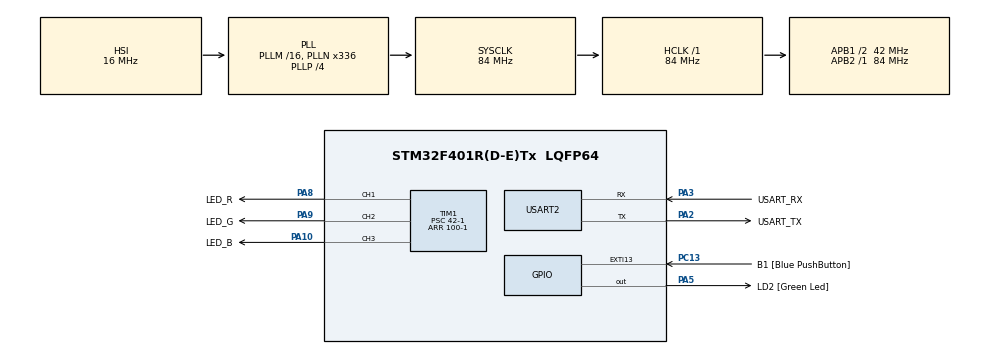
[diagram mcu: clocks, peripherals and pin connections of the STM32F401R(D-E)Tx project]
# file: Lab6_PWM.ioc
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Mcu.Family=STM32F4
Mcu.Name=STM32F401R(D-E)Tx
Mcu.Package=LQFP64
NVIC.PriorityGroup=NVIC_PRIORITYGROUP_0
NVIC.TIM1_UP_TIM10_IRQn=true\:0\:0\:false\:false\:true\:true\:true\:true
PA10.GPIO_Label=LED_B
PA10.Signal=S_TIM1_CH3
PA13.GPIO_Label=TMS
PA13.Mode=Serial_Wire
PA13.Signal=SYS_JTMS-SWDIO
PA14.GPIO_Label=TCK
PA14.Mode=Serial_Wire
PA14.Signal=SYS_JTCK-SWCLK
PA2.GPIO_Label=USART_TX
PA2.GPIO_Mode=GPIO_MODE_AF_PP
PA2.GPIO_PuPd=GPIO_NOPULL
PA2.GPIO_Speed=GPIO_SPEED_FREQ_LOW
PA2.Mode=Asynchronous
PA2.Signal=USART2_TX
PA3.GPIO_Label=USART_RX
PA3.GPIO_Mode=GPIO_MODE_AF_PP
PA3.GPIO_PuPd=GPIO_NOPULL
PA3.GPIO_Speed=GPIO_SPEED_FREQ_LOW
PA3.Mode=Asynchronous
PA3.Signal=USART2_RX
PA5.GPIO_Label=LD2 [Green Led]
PA5.GPIO_Mode=GPIO_MODE_OUTPUT_PP
PA5.GPIO_PuPd=GPIO_NOPULL
PA5.GPIO_Speed=GPIO_SPEED_FREQ_LOW
PA5.Signal=GPIO_Output
PA8.GPIO_Label=LED_R
PA8.Signal=S_TIM1_CH1
PA9.GPIO_Label=LED_G
PA9.Signal=S_TIM1_CH2
PB3.GPIO_Label=SWO
PB3.Signal=SYS_JTDO-SWO
PC13-ANTI_TAMP.GPIO_Label=B1 [Blue PushButton]
PC13-ANTI_TAMP.GPIO_ModeDefaultEXTI=GPIO_MODE_IT_FALLING
PC13-ANTI_TAMP.GPIO_PuPd=GPIO_NOPULL
PC13-ANTI_TAMP.Signal=GPXTI13
PC14-OSC32_IN.Mode=LSE-External-Oscillator
PC14-OSC32_IN.Signal=RCC_OSC32_IN
PC15-OSC32_OUT.Mode=LSE-External-Oscillator
PC15-OSC32_OUT.Signal=RCC_OSC32_OUT
PH0\ -\ OSC_IN.Mode=HSE-External-Clock-Source
PH0\ -\ OSC_IN.Signal=RCC_OSC_IN
PH1\ -\ OSC_OUT.Mode=HSE-External-Clock-Source
PH1\ -\ OSC_OUT.Signal=RCC_OSC_OUT
ProjectManager.HeapSize=0x200
ProjectManager.StackSize=0x400
ProjectManager.TargetToolchain=STM32CubeIDE
RCC.48MHZClocksFreq_Value=48000000
RCC.AHBFreq_Value=84000000
RCC.APB1CLKDivider=RCC_HCLK_DIV2
RCC.APB1Freq_Value=42000000
RCC.APB1TimFreq_Value=84000000
RCC.APB2Freq_Value=84000000
RCC.APB2TimFreq_Value=84000000
RCC.CortexFreq_Value=84000000
RCC.HCLKFreq_Value=84000000
RCC.HSE_VALUE=8000000
RCC.HSI_VALUE=16000000
RCC.PLLN=336
RCC.PLLP=RCC_PLLP_DIV4
RCC.PLLQ=7
RCC.SYSCLKFreq_VALUE=84000000
RCC.SYSCLKSource=RCC_SYSCLKSOURCE_PLLCLK
RCC.VCOOutputFreq_Value=336000000
SH.S_TIM1_CH1.0=TIM1_CH1,PWM Generation1 CH1
SH.S_TIM1_CH2.0=TIM1_CH2,PWM Generation2 CH2
SH.S_TIM1_CH3.0=TIM1_CH3,PWM Generation3 CH3
TIM1.Channel-PWM\ Generation1\ CH1=TIM_CHANNEL_1
TIM1.Channel-PWM\ Generation2\ CH2=TIM_CHANNEL_2
TIM1.Channel-PWM\ Generation3\ CH3=TIM_CHANNEL_3
TIM1.Period=100-1
TIM1.Prescaler=42-1
USART2.VirtualMode=VM_ASYNC
VP_TIM1_VS_ClockSourceINT.Mode=Internal
board=NUCLEO-F401RE

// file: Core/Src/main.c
/* USER CODE BEGIN Header */
/**
  ******************************************************************************
  * @file           : main.c
  * @brief          : Main program body
  ******************************************************************************
  * @attention
  *
  * Copyright (c) 2024 STMicroelectronics.
  * All rights reserved.
  *
  * This software is licensed under terms that can be found in the LICENSE file
  * in the root directory of this software component.
  * If no LICENSE file comes with this software, it is provided AS-IS.
  *
  ******************************************************************************
  */
/* USER CODE END Header */
#include "main.h"

/* USER CODE BEGIN Includes */
#include <math.h>
/* USER CODE END Includes */

TIM_HandleTypeDef htim1;

UART_HandleTypeDef huart2;

/* USER CODE BEGIN PV */
int isr_count = 0;
int exti_handled = 0;
float freq = 1.0;
float rf = 0.0;
float gf = 0.0;
float bf = 0.0;
/* USER CODE END PV */

void SystemClock_Config(void);
static void MX_GPIO_Init(void);
static void MX_USART2_UART_Init(void);
static void MX_TIM1_Init(void);

/* USER CODE BEGIN 0 */

void HAL_TIM_PeriodElapsedCallback (TIM_HandleTypeDef * htim) {
	isr_count++;
	exti_handled = 1;

}
/* USER CODE END 0 */

int main(void)
{

  /* MCU Configuration--------------------------------------------------------*/

  /* Reset of all peripherals, Initializes the Flash interface and the Systick. */
  HAL_Init();

  /* Configure the system clock */
  SystemClock_Config();

  /* Initialize all configured peripherals */
  MX_GPIO_Init();
  MX_USART2_UART_Init();
  MX_TIM1_Init();
  /* USER CODE BEGIN 2 */
  HAL_TIM_Base_Start_IT(&htim1);
  HAL_TIM_PWM_Start(&htim1, TIM_CHANNEL_1);
  HAL_TIM_PWM_Start(&htim1, TIM_CHANNEL_2);
  HAL_TIM_PWM_Start(&htim1, TIM_CHANNEL_3);
  /* USER CODE END 2 */

  /* Infinite loop */
  while (1)
  {
    /* USER CODE BEGIN 3 */
//	  uint32_t duty = (isr_count / 32) % 100;
//	  __HAL_TIM_SET_COMPARE(&htim1, TIM_CHANNEL_1, duty);

	  if(exti_handled > 0)
	  	{
	  		static float t = 0.0f;
	  		const float offset = M_TWOPI / 3.0f;
	  		const float half_arr = 50.0f; /* set to (ARR+1) / 2.0f !!! */
	  		rf = sinf((M_TWOPI * t * freq) + (0 * offset));
	  		gf = sinf((M_TWOPI * t * freq) + (1 * offset));
	  		bf = sinf((M_TWOPI * t * freq) + (2 * offset));
	  		rf = (rf + 1.0) * half_arr;
	  		gf = (gf + 1.0) * half_arr;
	  		bf = (bf + 1.0) * half_arr;

	  		t += 0.00005;
	  		if (t > 1/freq)
	  			t -= 1/freq; //have same frequency without decreasing with time

	  		__HAL_TIM_SET_COMPARE(&htim1, TIM_CHANNEL_1, rf);
	  		__HAL_TIM_SET_COMPARE(&htim1, TIM_CHANNEL_2, gf);
	  		__HAL_TIM_SET_COMPARE(&htim1, TIM_CHANNEL_3, bf);

	  		exti_handled = 0;
	  	}
  }
  /* USER CODE END 3 */
}

void SystemClock_Config(void)
{
  RCC_OscInitTypeDef RCC_OscInitStruct = {0};
  RCC_ClkInitTypeDef RCC_ClkInitStruct = {0};

  /** Configure the main internal regulator output voltage
  */
  __HAL_RCC_PWR_CLK_ENABLE();
  __HAL_PWR_VOLTAGESCALING_CONFIG(PWR_REGULATOR_VOLTAGE_SCALE2);

  /** Initializes the RCC Oscillators according to the specified parameters
  * in the RCC_OscInitTypeDef structure.
  */
  RCC_OscInitStruct.OscillatorType = RCC_OSCILLATORTYPE_HSI;
  RCC_OscInitStruct.HSIState = RCC_HSI_ON;
  RCC_OscInitStruct.HSICalibrationValue = RCC_HSICALIBRATION_DEFAULT;
  RCC_OscInitStruct.PLL.PLLState = RCC_PLL_ON;
  RCC_OscInitStruct.PLL.PLLSource = RCC_PLLSOURCE_HSI;
  RCC_OscInitStruct.PLL.PLLM = 16;
  RCC_OscInitStruct.PLL.PLLN = 336;
  RCC_OscInitStruct.PLL.PLLP = RCC_PLLP_DIV4;
  RCC_OscInitStruct.PLL.PLLQ = 7;
  if (HAL_RCC_OscConfig(&RCC_OscInitStruct) != HAL_OK)
  {
    Error_Handler();
  }

  /** Initializes the CPU, AHB and APB buses clocks
  */
  RCC_ClkInitStruct.ClockType = RCC_CLOCKTYPE_HCLK|RCC_CLOCKTYPE_SYSCLK
                              |RCC_CLOCKTYPE_PCLK1|RCC_CLOCKTYPE_PCLK2;
  RCC_ClkInitStruct.SYSCLKSource = RCC_SYSCLKSOURCE_PLLCLK;
  RCC_ClkInitStruct.AHBCLKDivider = RCC_SYSCLK_DIV1;
  RCC_ClkInitStruct.APB1CLKDivider = RCC_HCLK_DIV2;
  RCC_ClkInitStruct.APB2CLKDivider = RCC_HCLK_DIV1;

  if (HAL_RCC_ClockConfig(&RCC_ClkInitStruct, FLASH_LATENCY_2) != HAL_OK)
  {
    Error_Handler();
  }
}

static void MX_TIM1_Init(void)
{

  TIM_ClockConfigTypeDef sClockSourceConfig = {0};
  TIM_MasterConfigTypeDef sMasterConfig = {0};
  TIM_OC_InitTypeDef sConfigOC = {0};
  TIM_BreakDeadTimeConfigTypeDef sBreakDeadTimeConfig = {0};

  htim1.Instance = TIM1;
  htim1.Init.Prescaler = 42-1;
  htim1.Init.CounterMode = TIM_COUNTERMODE_UP;
  htim1.Init.Period = 100-1;
  htim1.Init.ClockDivision = TIM_CLOCKDIVISION_DIV1;
  htim1.Init.RepetitionCounter = 0;
  htim1.Init.AutoReloadPreload = TIM_AUTORELOAD_PRELOAD_DISABLE;
  if (HAL_TIM_Base_Init(&htim1) != HAL_OK)
  {
    Error_Handler();
  }
  sClockSourceConfig.ClockSource = TIM_CLOCKSOURCE_INTERNAL;
  if (HAL_TIM_ConfigClockSource(&htim1, &sClockSourceConfig) != HAL_OK)
  {
    Error_Handler();
  }
  if (HAL_TIM_PWM_Init(&htim1) != HAL_OK)
  {
    Error_Handler();
  }
  sMasterConfig.MasterOutputTrigger = TIM_TRGO_RESET;
  sMasterConfig.MasterSlaveMode = TIM_MASTERSLAVEMODE_DISABLE;
  if (HAL_TIMEx_MasterConfigSynchronization(&htim1, &sMasterConfig) != HAL_OK)
  {
    Error_Handler();
  }
  sConfigOC.OCMode = TIM_OCMODE_PWM1;
  sConfigOC.Pulse = 0;
  sConfigOC.OCPolarity = TIM_OCPOLARITY_HIGH;
  sConfigOC.OCNPolarity = TIM_OCNPOLARITY_HIGH;
  sConfigOC.OCFastMode = TIM_OCFAST_DISABLE;
  sConfigOC.OCIdleState = TIM_OCIDLESTATE_RESET;
  sConfigOC.OCNIdleState = TIM_OCNIDLESTATE_RESET;
  if (HAL_TIM_PWM_ConfigChannel(&htim1, &sConfigOC, TIM_CHANNEL_1) != HAL_OK)
  {
    Error_Handler();
  }
  if (HAL_TIM_PWM_ConfigChannel(&htim1, &sConfigOC, TIM_CHANNEL_2) != HAL_OK)
  {
    Error_Handler();
  }
  if (HAL_TIM_PWM_ConfigChannel(&htim1, &sConfigOC, TIM_CHANNEL_3) != HAL_OK)
  {
    Error_Handler();
  }
  sBreakDeadTimeConfig.OffStateRunMode = TIM_OSSR_DISABLE;
  sBreakDeadTimeConfig.OffStateIDLEMode = TIM_OSSI_DISABLE;
  sBreakDeadTimeConfig.LockLevel = TIM_LOCKLEVEL_OFF;
  sBreakDeadTimeConfig.DeadTime = 0;
  sBreakDeadTimeConfig.BreakState = TIM_BREAK_DISABLE;
  sBreakDeadTimeConfig.BreakPolarity = TIM_BREAKPOLARITY_HIGH;
  sBreakDeadTimeConfig.AutomaticOutput = TIM_AUTOMATICOUTPUT_DISABLE;
  if (HAL_TIMEx_ConfigBreakDeadTime(&htim1, &sBreakDeadTimeConfig) != HAL_OK)
  {
    Error_Handler();
  }
  HAL_TIM_MspPostInit(&htim1);

}

static void MX_USART2_UART_Init(void)
{

  huart2.Instance = USART2;
  huart2.Init.BaudRate = 115200;
  huart2.Init.WordLength = UART_WORDLENGTH_8B;
  huart2.Init.StopBits = UART_STOPBITS_1;
  huart2.Init.Parity = UART_PARITY_NONE;
  huart2.Init.Mode = UART_MODE_TX_RX;
  huart2.Init.HwFlowCtl = UART_HWCONTROL_NONE;
  huart2.Init.OverSampling = UART_OVERSAMPLING_16;
  if (HAL_UART_Init(&huart2) != HAL_OK)
  {
    Error_Handler();
  }

}

static void MX_GPIO_Init(void)
{
  GPIO_InitTypeDef GPIO_InitStruct = {0};

  /* GPIO Ports Clock Enable */
  __HAL_RCC_GPIOC_CLK_ENABLE();
  __HAL_RCC_GPIOH_CLK_ENABLE();
  __HAL_RCC_GPIOA_CLK_ENABLE();
  __HAL_RCC_GPIOB_CLK_ENABLE();

  /*Configure GPIO pin Output Level */
  HAL_GPIO_WritePin(LD2_GPIO_Port, LD2_Pin, GPIO_PIN_RESET);

  /*Configure GPIO pin : B1_Pin */
  GPIO_InitStruct.Pin = B1_Pin;
  GPIO_InitStruct.Mode = GPIO_MODE_IT_FALLING;
  GPIO_InitStruct.Pull = GPIO_NOPULL;
  HAL_GPIO_Init(B1_GPIO_Port, &GPIO_InitStruct);

  /*Configure GPIO pin : LD2_Pin */
  GPIO_InitStruct.Pin = LD2_Pin;
  GPIO_InitStruct.Mode = GPIO_MODE_OUTPUT_PP;
  GPIO_InitStruct.Pull = GPIO_NOPULL;
  GPIO_InitStruct.Speed = GPIO_SPEED_FREQ_LOW;
  HAL_GPIO_Init(LD2_GPIO_Port, &GPIO_InitStruct);

}

void Error_Handler(void)
{
  __disable_irq();
  while (1)
  {
  }
}
